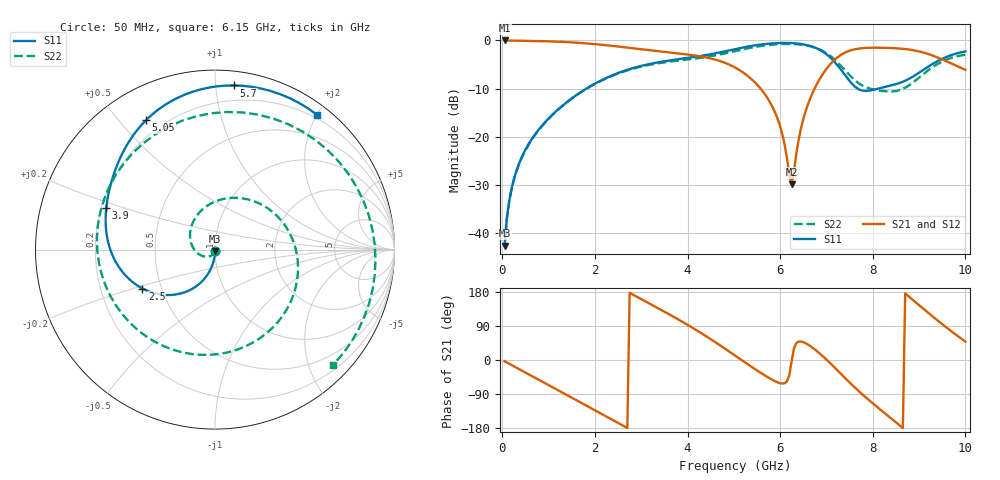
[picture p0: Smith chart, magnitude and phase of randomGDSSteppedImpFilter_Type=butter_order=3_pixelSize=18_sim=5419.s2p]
! freq	dB(S11)	phase(S11)	dB(S12)	phase(S12)
!  dB(S21)	phase(S21)	dB(S22)	phase(S22)
!S-par simulation data
#  GHz  S  DB  R 50
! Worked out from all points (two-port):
!   200 points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, 50 MHz to 10 GHz, reference 50 ohm
!   highest |S21| = -0.01 dB at 50 MHz (marker M1); lowest = -29.9 dB at 6.25 GHz (marker M2)
!   |S21| within 3 dB of the highest: start of sweep to 4.065 GHz; 7.312 GHz to 9.254 GHz (1.942 GHz wide, 23.4 % of centre)
!   lowest |S11| = -42.6 dB at 50 MHz (marker M3), VSWR 1.01, Z = 50 - j0.737 ohm
!   |S11| at or under -10 dB: start of sweep to 1.815 GHz; 7.674 GHz to 8.121 GHz (446.6 MHz wide, 5.65 % of centre)
!   |S22| runs from -42.7 to -0.7 dB; largest |S21 - S12| = 0
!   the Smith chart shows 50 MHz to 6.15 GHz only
!   S11 on the Smith chart (normalised r, x): 50 MHz: 1.00, -0.01; 2.5 GHz: 0.39, -0.21; 3.9 GHz: 0.22, +0.17; 5.05 GHz: 0.14, +0.59; 5.7 GHz: 0.09, +1.12; 6.15 GHz: 0.15, +2.00
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0.05  -42.64 -87.0  -0.01 -3.3  -0.01 -3.3  -42.72 -92.7
0.2  -30.77 -92.3  -0.03 -13.2  -0.03 -13.2  -30.89 -112.7
0.45  -23.63 -97.1  -0.06 -29.6  -0.06 -29.6  -23.76 -142.6
1.1  -15.26 -110.0  -0.22 -72.6  -0.22 -72.6  -15.31 143.3
1.75  -10.39 -126.9  -0.57 -116.0  -0.57 -116.0  -10.44 73.4
2.5  -6.77 -151.8  -1.26 -166.2  -1.26 -166.2  -6.87 -1.6
3.4  -4.49 176.1  -2.27 134.3  -2.27 134.3  -4.70 -88.0
3.9  -3.77 159.3  -2.81 100.0  -2.81 100.0  -4.08 -139.5
4.45  -2.95 141.2  -3.63 59.0  -3.63 59.0  -3.37 155.9
5.05  -1.75 117.9  -5.75 9.7  -5.75 9.7  -2.16 78.6
5.7  -0.72 83.4  -11.58 -43.0  -11.58 -43.0  -1.01 1.6
6.15  -0.52 52.9  -24.63 -55.7  -24.63 -55.7  -0.73 -44.2
6.25  -0.55 45.1  -29.90 -1.4  -29.90 -1.4  -0.74 -53.8
6.45  -0.74 28.1  -18.24 48.8  -18.24 48.8  -0.88 -73.0
6.7  -1.30 2.9  -10.90 32.4  -10.90 32.4  -1.34 -97.1
7.05  -3.27 -42.2  -5.30 -4.6  -5.30 -4.6  -3.00 -131.0
7.35  -6.53 -93.2  -2.78 -41.2  -2.78 -41.2  -5.67 -155.9
7.8  -10.46 170.9  -1.58 -93.5  -1.58 -93.5  -9.49 -177.6
8.35  -9.46 99.7  -1.56 -149.4  -1.56 -149.4  -10.61 134.3
8.85  -7.61 76.3  -1.99 160.2  -1.99 160.2  -8.86 52.3
9.3  -4.83 55.9  -3.16 114.2  -3.16 114.2  -5.49 -16.3
10  -2.27 14.3  -6.11 48.5  -6.11 48.5  -2.97 -98.5
